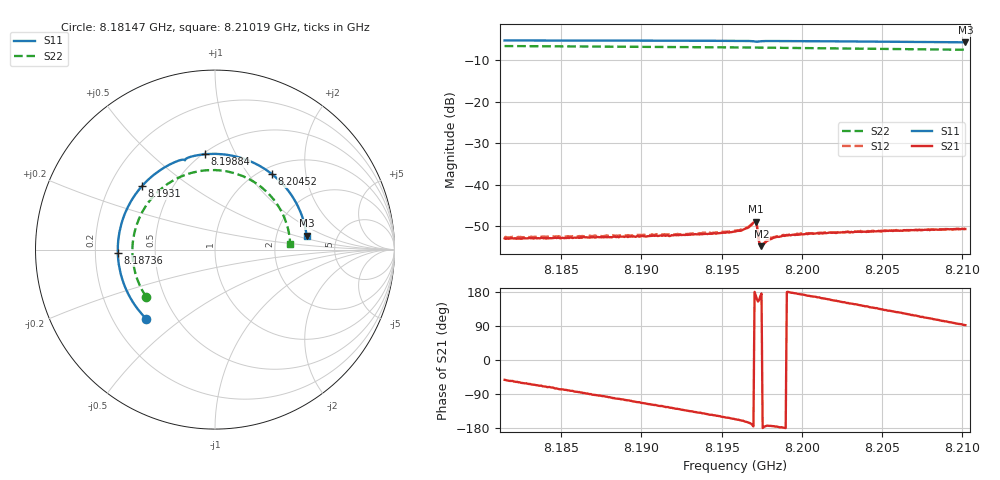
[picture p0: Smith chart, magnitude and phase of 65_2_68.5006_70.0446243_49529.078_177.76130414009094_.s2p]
#  HZ  S  RI  R  50.00
! Rohde & Schwarz Vector Network Analyzer
! Rohde-Schwarz,ZNB20-2Port,1311601062101988,3.16
! Created: UTC 3/20/2024, 5:06:39 PM
! freq[Hz]  re:S11  im:S11  re:S21  im:S21  re:S12  im:S12  re:S22  im:S22
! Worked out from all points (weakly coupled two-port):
!   401 points, 8.18147 GHz to 8.21019 GHz, reference 50 ohm
!   highest |S21| = -48.90 dB at 8.19712 GHz (marker M1); lowest = -54.8 dB at 8.19748 GHz (marker M2)
!   lowest |S11| = -5.7 dB at 8.21019 GHz (marker M3), VSWR 3.14, Z = 149 + j31.4 ohm
!   |S11| at or under -10 dB: nowhere
!   |S22| runs from -7.5 to -6.6 dB; largest |S21 - S12| = 0.00021
!   S11 on the Smith chart (normalised r, x): 8.18147 GHz: 0.34, -0.37; 8.18736 GHz: 0.30, -0.01; 8.1931 GHz: 0.34, +0.33; 8.19884 GHz: 0.51, +0.76; 8.20452 GHz: 1.12, +1.31; 8.21019 GHz: 2.99, +0.63
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8.181469e9  -0.3836 -0.3851  0.00138 -0.0018  0.0014 -0.00187  -0.3846 -0.2619
8.184053e9  -0.4872 -0.2395  0.000754 -0.00212  0.000772 -0.00223  -0.444 -0.1308
8.186279e9  -0.5342 -0.0923  0.000177 -0.0023  0.000132 -0.00242  -0.4605 -0.00851
8.187356e9  -0.5416 -0.0175  -0.000169 -0.00234  -0.000195 -0.00243  -0.4566 0.0513
8.189151e9  -0.5303 0.1072  -0.000668 -0.00226  -0.00076 -0.00236  -0.4331 0.148
8.19109e9  -0.4864 0.2353  -0.00126 -0.00209  -0.00136 -0.00213  -0.3842 0.2439
8.1931e9  -0.4081 0.3525  -0.0018 -0.00179  -0.00191 -0.00173  -0.3114 0.3287
8.195829e9  -0.2577 0.4712  -0.00251 -0.0011  -0.00262 -0.00104  -0.1828 0.4099
8.196547e9  -0.2106 0.4927  -0.00287 -0.000846  -0.00296 -0.000757  -0.1446 0.4235
8.196977e9  -0.1787 0.5009  -0.0035 -0.000277  -0.00358 -0.000173  -0.1213 0.4299
8.197121e9  -0.1689 0.4991  -0.00354 0.000601  -0.00357 0.000734  -0.1133 0.4316
8.197336e9  -0.1645 0.503  -0.0019 0.000725  -0.00188 0.000802  -0.1017 0.4343
8.197408e9  -0.1603 0.5068  -0.00181 0.000366  -0.00184 0.000475  -0.0977 0.4352
8.19748e9  -0.1555 0.5096  -0.00182 0.000148  -0.00186 0.000198  -0.0936 0.436
8.198126e9  -0.1089 0.5237  -0.00224 -0.000223  -0.00229 -0.000124  -0.0574 0.4412
8.198844e9  -0.0581 0.5312  -0.00245 -6.83e-05  -0.0025 6.25e-05  -0.0167 0.4433
8.200639e9  0.0688 0.5279  -0.00254 0.000538  -0.00254 0.000654  0.0846 0.4319
8.202506e9  0.1957 0.4926  -0.00239 0.0012  -0.00235 0.00131  0.1848 0.3955
8.204517e9  0.3179 0.4204  -0.00204 0.00187  -0.00197 0.00196  0.2802 0.3291
8.20545e9  0.367 0.376  -0.00182 0.00216  -0.00174 0.0022  0.3179 0.2899
8.207891e9  0.4654 0.234  -0.00101 0.00271  -0.000938 0.00274  0.391 0.1662
8.210189e9  0.5106 0.077  -0.0001 0.00294  -2.17e-05 0.00299  0.4189 0.0312
